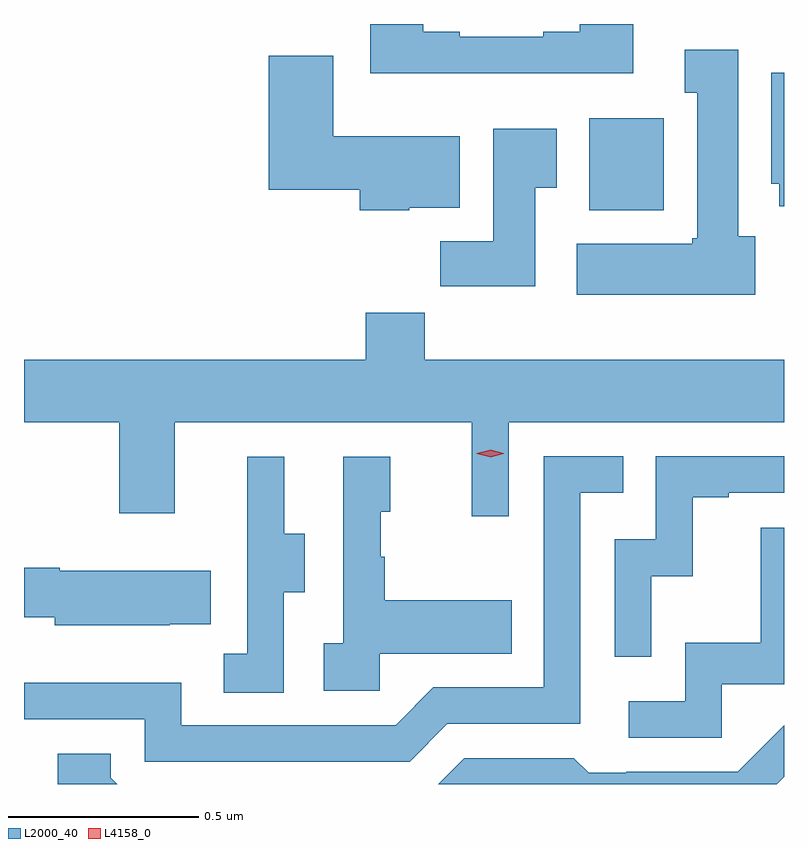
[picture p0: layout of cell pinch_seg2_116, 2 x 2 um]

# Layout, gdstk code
import gdstk
lib = gdstk.Library(unit=1e-6, precision=1e-09)
def R(c, l, rs):  # rectangles x0, y0, x1, y1
    for r in rs: c.add(gdstk.rectangle(r[:2], r[2:], *l))
def P(c, l, *ps):  # polygons
    for p in ps: c.add(gdstk.Polygon(p, *l))
L2000_40 = (2000, 40)
L4158_0 = (4158, 0)

pinch_seg2_116 = lib.new_cell('pinch_seg2_116')
R(pinch_seg2_116, L2000_40, [(1043.075,641.534,1043.272,641.776)])
P(pinch_seg2_116, L2000_40, [(1043.191,642.024),(1043.051,642.024),(1043.051,642.004),(1042.955,642.004),(1042.955,641.991),(1042.735,641.991),(1042.735,642.004),(1042.639,642.004),(1042.639,642.024),(1042.499,642.024),(1042.499,641.894),(1043.191,641.894)],
  [(1043.512,641.466),(1043.467,641.466),(1043.467,641.956),(1043.327,641.956),(1043.327,641.843),(1043.36,641.843),(1043.36,641.46),(1043.347,641.46),(1043.347,641.446),(1043.043,641.446),(1043.043,641.312),(1043.512,641.312)],
  [(1042.602,641.54),(1042.735,641.54),(1042.735,641.728),(1042.402,641.728),(1042.402,641.941),(1042.232,641.941),(1042.232,641.588),(1042.472,641.588),(1042.472,641.534),(1042.602,641.534)],
  [(1043.588,641.896),(1043.555,641.896),(1043.555,641.604),(1043.576,641.604),(1043.576,641.544),(1043.588,641.544)],
  [(1042.933,641.593),(1042.99,641.593),(1042.99,641.749),(1042.823,641.749),(1042.823,641.452),(1042.684,641.452),(1042.684,641.334),(1042.933,641.334)],
  [(1042.863,640.976),(1043.588,640.976),(1043.588,641.14),(1042.643,641.14),(1042.643,641.264),(1042.487,641.264),(1042.487,641.14),(1041.588,641.14),(1041.588,640.976),(1041.838,640.976),(1041.838,640.737),(1041.985,640.737),(1041.985,640.976),(1042.766,640.976),(1042.766,640.728),(1042.863,640.728)],
  [(1043.238,640.571),(1043.348,640.571),(1043.348,640.779),(1043.443,640.779),(1043.443,640.791),(1043.588,640.791),(1043.588,640.887),(1043.25,640.887),(1043.25,640.668),(1043.142,640.668),(1043.142,640.359),(1043.238,640.359)],
  [(1042.702,640.182),(1043.052,640.182),(1043.052,640.791),(1043.165,640.791),(1043.165,640.887),(1042.956,640.887),(1042.956,640.278),(1042.665,640.278),(1042.566,640.179),(1042.002,640.179),(1042.002,640.291),(1041.588,640.291),(1041.588,640.194),(1041.906,640.194),(1041.906,640.083),(1042.603,640.083)],
  [(1042.272,640.528),(1042.327,640.528),(1042.327,640.683),(1042.273,640.683),(1042.273,640.885),(1042.175,640.885),(1042.175,640.671),(1042.176,640.671),(1042.176,640.367),(1042.113,640.367),(1042.113,640.264),(1042.272,640.264)],
  [(1042.524,640.367),(1042.871,640.367),(1042.871,640.507),(1042.537,640.507),(1042.537,640.622),(1042.527,640.622),(1042.527,640.74),(1042.552,640.74),(1042.552,640.885),(1042.428,640.885),(1042.428,640.394),(1042.377,640.394),(1042.377,640.269),(1042.524,640.269)],
  [(1043.424,640.287),(1043.588,640.287),(1043.588,640.699),(1043.527,640.699),(1043.527,640.396),(1043.328,640.396),(1043.328,640.242),(1043.18,640.242),(1043.18,640.146),(1043.424,640.146)],
  [(1041.971,640.445),(1042.079,640.445),(1042.079,640.585),(1041.682,640.585),(1041.682,640.593),(1041.588,640.593),(1041.588,640.463),(1041.669,640.463),(1041.669,640.442),(1041.971,640.442)],
  [(1043.588,640.043),(1043.588,640.178),(1043.466,640.056),(1043.173,640.056),(1043.173,640.053),(1043.074,640.053),(1043.035,640.092),(1042.746,640.092),(1042.678,640.024),(1043.569,640.024)],
  [(1041.816,640.041),(1041.816,640.104),(1041.677,640.104),(1041.677,640.024),(1041.833,640.024)])
P(pinch_seg2_116, L4158_0, [(1042.816,640.884),(1042.78,640.893),(1042.78,640.894),(1042.78,640.894),(1042.816,640.904),(1042.851,640.894),(1042.851,640.894),(1042.851,640.893)])

lib.write_gds('pinch_seg2_116.gds')
